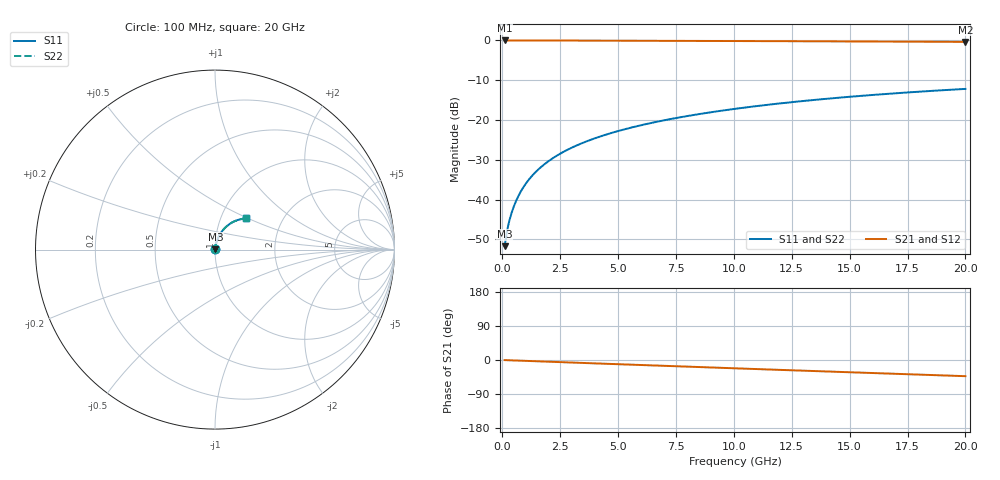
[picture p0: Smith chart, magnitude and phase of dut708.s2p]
! Touchstone file exported from HFSS 2026.1.0
!  File:  C:/ffzhzh/LocalFiles/Ansys_Project_Files/temp_train_TMRDL_708_1783154533_22436.aedt
!  Generated:  04:43:29 PM Jul  4, 2026
!  Design:  TMRDL
!  Project:  temp_train_TMRDL_708_1783154533_22436
! Variables:
!  h_bsmrdl = 2um
!  h_ox = 20um
!  h_rdl = 5um
!  h_sub = 80um
!  h_tmrdl = 5.4um
!  h_tsv = 80um
!  h_via = 3um
!  l_bsmrdl = 300um
!  l_sub = 1101.7um
!  l_tmrdl = 701.7um
!  m_sub = 200um
!  pitch = 45.43um
!  r_tsv = 6um
!  s_tmrdl = 10um
!  w_bsmrdl = 18um
!  w_sub = 500um
!  w_tmrdl = 28.67um
!  x_tsv_center1 = 716.035um
!  x_tsv_center2 = 1034.035um
!  x_tsv_center3 = 1764.405um
!  x_tsv_center4 = 2082.405um
!  x_tsv_center5 = 2812.775um
!  x_tsv_center6 = 3130.775um
# GHz S MA R 50.000000
! Terminal data exported
! Port[1] = TM_RDL1_1_T1
! Port[2] = TM_RDL1_1_T2
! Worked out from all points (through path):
!   200 points, 100 MHz to 20 GHz, reference 50 ohm
!   highest |S21| = -0.02 dB at 100 MHz (marker M1); lowest = -0.4 dB at 20 GHz (marker M2)
!   group delay of S21, straight-line fit = 5.92 ps
!   lowest |S11| = -51.7 dB at 100 MHz (marker M3), VSWR 1.01, Z = 50.2 + j0.182 ohm
!   |S11| at or under -10 dB: start of sweep to end of sweep
!   |S22| runs from -51.7 to -12.2 dB; largest |S21 - S12| = 2.7e-15
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0.1  0.002605 44.0  0.9981 -0.2  0.9981 -0.2  0.002605 44.0
! Gamma 0 0 0 0
! Port Impedance 50 0 50 0
0.2  0.003991 58.1  0.9979 -0.5  0.9979 -0.5  0.003991 58.1
0.3  0.005383 65.0  0.9978 -0.7  0.9978 -0.7  0.005383 65.0
0.4  0.006798 69.3  0.9977 -0.9  0.9977 -0.9  0.006798 69.3
0.5  0.00824 72.2  0.9976 -1.1  0.9976 -1.1  0.00824 72.2
0.6  0.009703 74.2  0.9975 -1.4  0.9975 -1.4  0.009703 74.2
0.8  0.01266 76.7  0.9974 -1.8  0.9974 -1.8  0.01266 76.7
1.1  0.01714 78.5  0.9972 -2.5  0.9972 -2.5  0.01714 78.4
1.3  0.02013 79.0  0.997 -2.9  0.997 -2.9  0.02013 79.0
1.5  0.02311 79.2  0.9968 -3.4  0.9968 -3.4  0.02311 79.2
1.8  0.02756 79.2  0.9964 -4.1  0.9964 -4.1  0.02756 79.2
2.1  0.03196 79.0  0.996 -4.7  0.996 -4.7  0.03196 79.0
2.7  0.04066 78.3  0.9952 -6.1  0.9952 -6.1  0.04066 78.3
3.5  0.05201 77.0  0.994 -7.8  0.994 -7.8  0.05201 77.0
4.2  0.06175 75.7  0.9928 -9.4  0.9928 -9.4  0.06175 75.7
5  0.0727 74.3  0.9915 -11.1  0.9915 -11.1  0.0727 74.3
6.8  0.09674 70.9  0.9883 -15.0  0.9883 -15.0  0.09674 70.9
8.3  0.1162 68.0  0.9855 -18.2  0.9855 -18.2  0.1162 68.0
10.1  0.1388 64.4  0.9818 -22.1  0.9818 -22.1  0.1388 64.4
13.4  0.178 57.9  0.9744 -29.0  0.9744 -29.0  0.178 57.9
16.7  0.2139 51.4  0.9663 -35.9  0.9663 -35.9  0.2138 51.3
20  0.2459 44.9  0.9581 -42.7  0.9581 -42.7  0.2459 44.8
